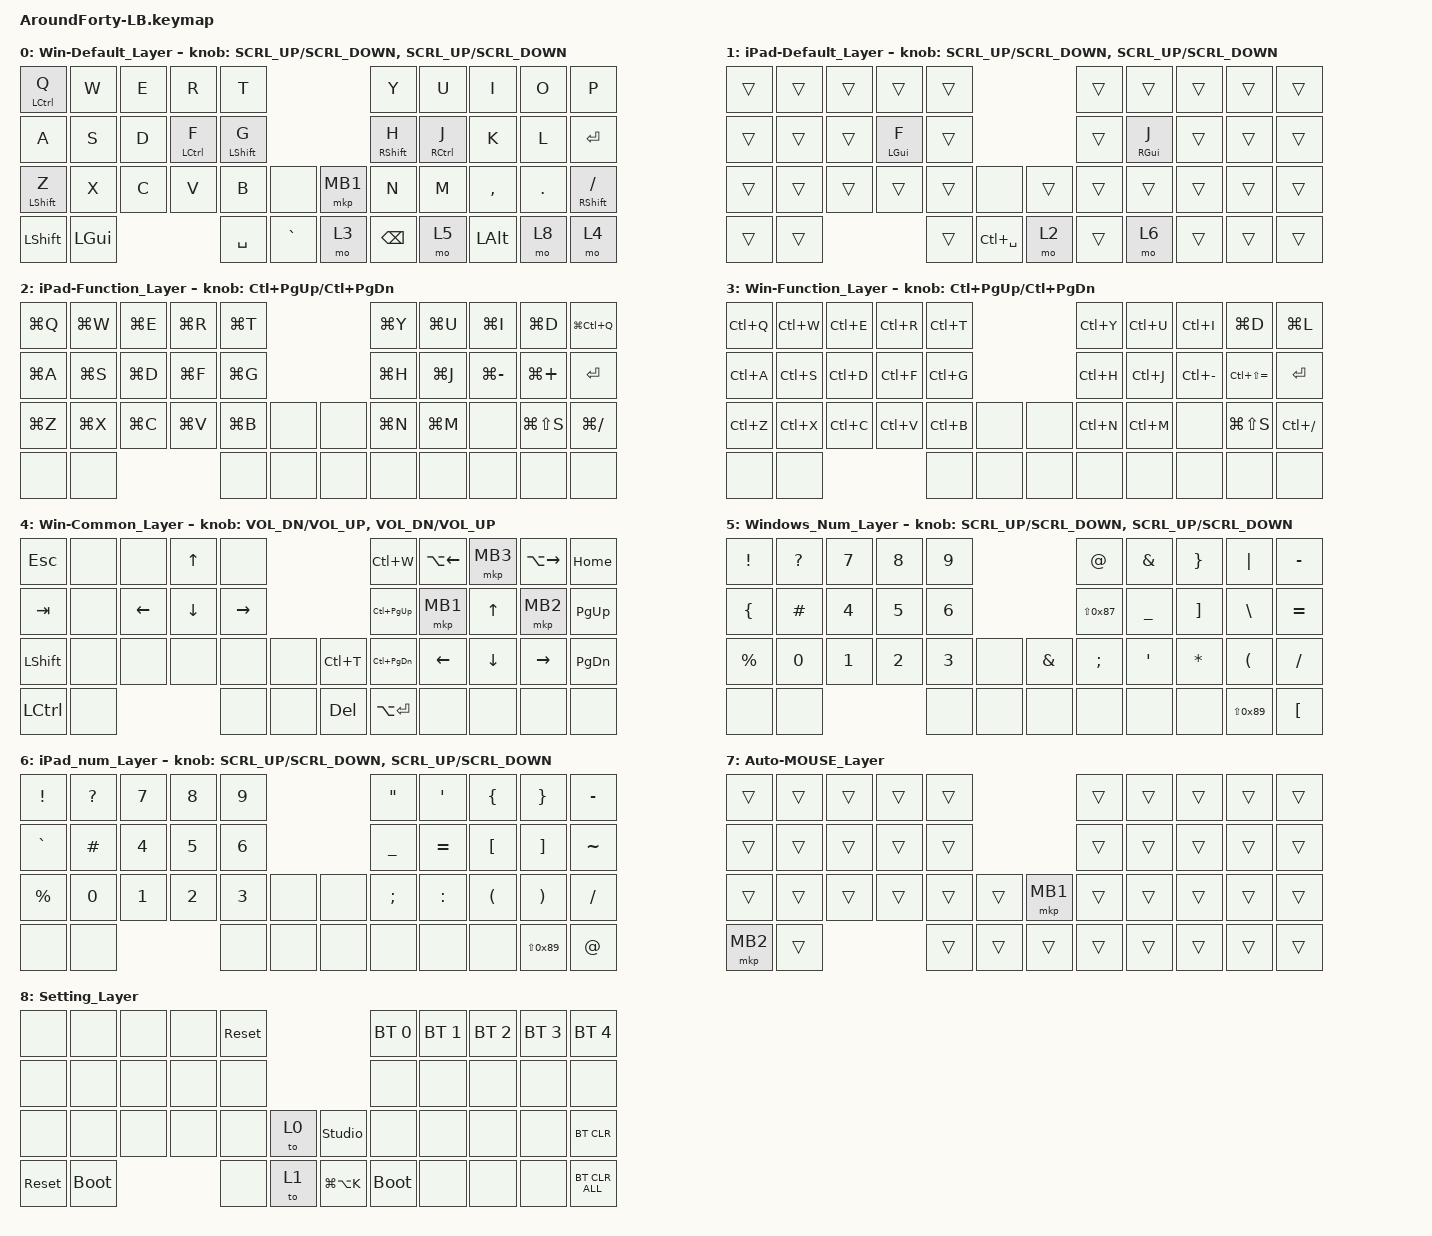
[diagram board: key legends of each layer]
#include <behaviors.dtsi>
#include <dt-bindings/zmk/bt.h>
#include <dt-bindings/zmk/keys.h>
#include <dt-bindings/zmk/pointing.h>

#undef ZMK_POINTING_DEFAULT_SCRL_VAL
#undef ZMK_POINTING_DEFAULT_MOVE_VAL

#define ZMK_POINTING_DEFAULT_MOVE_VAL 1800
#define ZMK_POINTING_DEFAULT_SCRL_VAL 10
#define MOUSE 7

// OS設定を日本語キーボードのまま使用するための変換定義
#define JP_DQUOTE       AT                // "
#define JP_AMPERSAND    CARET             // &
#define JP_QUOTE        AMPERSAND         // '
#define JP_EQUAL        UNDER             // =
#define JP_CARET        EQUAL             // ^
#define JP_YEN          0x89              // ¥
#define JP_PLUS         COLON             // +
#define JP_TILDE        PLUS              // ~
#define JP_PIPE         LS(0x89)          // |
#define JP_AT           LEFT_BRACKET      // @
#define JP_COLON        SINGLE_QUOTE      // :
#define JP_ASTERISK     DOUBLE_QUOTES     // *
#define JP_BACKQUOTE    LEFT_BRACE        // `
#define JP_UNDERSCORE   LS(0x87)          // _
#define JP_LBRACKET     RIGHT_BRACKET     // [
#define JP_RBRACKET     BACKSLASH         // ]
#define JP_LPAREN       ASTERISK          // (
#define JP_RPAREN       LEFT_PARENTHESIS  // )
#define JP_LBRACE       RIGHT_BRACE       // {
#define JP_RBRACE       PIPE              // }
#define JP_KANA         LANGUAGE_1        // かな
#define JP_EISU         LANGUAGE_2        // 英数
#define JP_HANZEN       GRAVE             // 半角/全角

&mt {
    flavor = "balanced";
    quick-tap-ms = <0>;
};

/ {
    //コンボ設定

    combos {
        compatible = "zmk,combos";

        tab {
            bindings = <&kp TAB>;
            key-positions = <11 12>;
        };

        shift_tab {
            bindings = <&kp LS(TAB)>;
            key-positions = <12 13>;
        };

        muhennkann {
            bindings = <&to_layer_0 INT_MUHENKAN>;
            key-positions = <11 10>;
        };

        double_quotation {
            bindings = <&kp DOUBLE_QUOTES>;
            key-positions = <20 21>;
        };

        eq {
            bindings = <&kp EQUAL>;
            key-positions = <24 25>;
        };
    };

    //マクロ(既存のキーの組み合わせ)

    macros {
        to_layer_0: to_layer_0 {
            compatible = "zmk,behavior-macro-one-param";
            #binding-cells = <1>;
            bindings = <&to 0 &macro_param_1to1 &kp MACRO_PLACEHOLDER>;
            label = "TO_LAYER_0";
        };
    };

    //新たな動作を定義する

    behaviors {
        hmr_left: hmr_left {
            compatible = "zmk,behavior-hold-tap";
            label = "HMR_LEFT";
            bindings = <&kp>, <&kp>;

            #binding-cells             = <2>;
            tapping-term-ms            = <200>;
            flavor                     = "balanced";
            hold-trigger-key-positions = <5 6 7 8 9 15 16 17 18 19 26 27 28 29 30 31 36 37 38 39 40 41 42>;
            require-prior-idle-ms      = <150>;
            hold-trigger-on-release;
            hold-while-undecided;
        };

        hmr_right: hmr_right {
            compatible = "zmk,behavior-hold-tap";
            label = "HMR_RIGHT";
            bindings = <&kp>, <&kp>;

            #binding-cells             = <2>;
            tapping-term-ms            = <200>;
            flavor                     = "balanced";
            hold-trigger-key-positions = <0 1 2 3 4 10 11 12 13 14 20 21 22 23 24 25 32 33 34 35>;
            require-prior-idle-ms      = <150>;
            hold-trigger-on-release;
            hold-while-undecided;
        };

        mouse_scroll: mouse_wheel_scrl {
            compatible = "zmk,behavior-sensor-rotate-var";
            #sensor-binding-cells = <2>;
            bindings = <&msc>, <&msc>;

            tap-ms = <20>;
        };
    };

    //キーマップ設定

    keymap {
        compatible = "zmk,keymap";


        //layer_0
        Win-Default_Layer {
            bindings = <
&mt LCTRL Q       &kp W         &kp E  &kp R              &kp T                                                    &kp Y                 &kp U                  &kp I          &kp O             &kp P
&kp A             &kp S         &kp D  &hmr_left LCTRL F  &hmr_left LSHIFT G                                       &hmr_right RSHIFT H   &hmr_right RCTRL J     &kp K          &kp L             &kp ENTER
&mt LSHIFT Z      &kp X         &kp C  &kp V              &kp B               &none                 &mkp MB1       &kp N                 &kp M                  &kp COMMA      &kp PERIOD        &mt RIGHT_SHIFT SLASH
&kp LSHIFT        &kp LEFT_GUI                            &kp SPACE           &kp JP_HANZEN         &mo 3          &kp BACKSPACE         &mo 5                  &kp LEFT_ALT   &mo 8             &mo 4
            >;

            sensor-bindings =
                <&mouse_scroll SCRL_UP SCRL_DOWN>,
                <&mouse_scroll SCRL_UP SCRL_DOWN>;
        };

        //layer_1
        iPad-Default_Layer {
            bindings = <
&trans  &trans  &trans  &trans            &trans                                        &trans  &trans             &trans   &trans  &trans
&trans  &trans  &trans  &hmr_left LGUI F  &trans                                        &trans  &hmr_right RGUI J  &trans   &trans  &trans
&trans  &trans  &trans  &trans            &trans  &none                        &trans   &trans  &trans             &trans   &trans  &trans
&trans  &trans                            &trans  &kp LC(SPACE)                &mo 2    &trans  &mo 6              &trans   &trans  &trans
            >;

            sensor-bindings =
                <&mouse_scroll SCRL_UP SCRL_DOWN>,
                <&mouse_scroll SCRL_UP SCRL_DOWN>;
        };

        //layer_2
        iPad-Function_Layer {
            bindings = <
&kp LG(Q)       &kp LG(W)     &kp LG(E)      &kp LG(R)   &kp LG(T)                           &kp LG(Y)  &kp LG(U)  &kp LG(I)        &kp LG(D)      &kp LG(LC(Q))
&kp LG(A)       &kp LG(S)     &kp LG(D)      &kp LG(F)   &kp LG(G)                           &kp LG(H)  &kp LG(J)  &kp LG(MINUS)    &kp LG(PLUS)   &kp ENTER
&kp LG(Z)       &kp LG(X)     &kp LG(C)      &kp LG(V)   &kp LG(B)      &none       &none    &kp LG(N)  &kp LG(M)  &none            &kp LG(LS(S))  &kp LG(SLASH)
&none           &none                                    &none          &none       &none    &none      &none      &none            &none          &none
            >;

            sensor-bindings = <&inc_dec_kp LC(PAGE_UP) LC(PAGE_DOWN)>;
        };

        //layer_3
        Win-Function_Layer {
            bindings = <
&kp LC(Q)       &kp LC(W)     &kp LC(E)      &kp LC(R)   &kp LC(T)                          &kp LC(Y)  &kp LC(U)  &kp LC(I)        &kp LG(D)           &kp LG(L)
&kp LC(A)       &kp LC(S)     &kp LC(D)      &kp LC(F)   &kp LC(G)                          &kp LC(H)  &kp LC(J)  &kp LC(MINUS)    &kp LC(LS(EQUAL))   &kp ENTER
&kp LC(Z)       &kp LC(X)     &kp LC(C)      &kp LC(V)   &kp LC(B)      &none       &none   &kp LC(N)  &kp LC(M)  &none            &kp LG(LS(S))       &kp LC(SLASH)
&none           &none                                    &none          &none       &none   &none      &none      &none            &none               &none
            >;

            sensor-bindings = <&inc_dec_kp LC(PAGE_UP) LC(PAGE_DOWN)>;
        };

        //layer_4
        Win-Common_Layer {
            bindings = <
&kp ESCAPE      &none        &none           &kp UP_ARROW    &none                                               &kp LC(W)          &kp LA(LEFT_ARROW)  &mkp MB3         &kp LA(RIGHT_ARROW)  &kp HOME
&kp TAB         &none        &kp LEFT_ARROW  &kp DOWN_ARROW  &kp RIGHT_ARROW                                     &kp LC(PAGE_UP)    &mkp MB1            &kp UP_ARROW     &mkp MB2             &kp PAGE_UP
&kp LEFT_SHIFT  &none        &none           &none           &none            &none           &kp LC(T)          &kp LC(PAGE_DOWN)  &kp LEFT_ARROW      &kp DOWN_ARROW   &kp RIGHT_ARROW      &kp PAGE_DOWN
&kp LCTRL       &none                                        &none            &none           &kp DEL            &kp LA(ENTER)      &none               &none            &none                &none
            >;

            sensor-bindings =
                <&inc_dec_kp C_VOL_DN C_VOL_UP>,
                <&inc_dec_kp C_VOL_DN C_VOL_UP>;
        };

        //layer_5
        Windows_Num_Layer {
            bindings = <
&kp EXCL          &kp QMARK   &kp N7  &kp N8  &kp N9                              &kp JP_DQUOTE      &kp JP_QUOTE    &kp JP_LBRACE     &kp JP_RBRACE    &kp MINUS
&kp JP_BACKQUOTE  &kp POUND   &kp N4  &kp N5  &kp N6                              &kp JP_UNDERSCORE  &kp JP_EQUAL    &kp JP_LBRACKET   &kp JP_RBRACKET  &kp JP_CARET
&kp PRCNT         &kp N0      &kp N1  &kp N2  &kp N3    &none     &kp AMPERSAND   &kp SEMI           &kp JP_COLON    &kp JP_LPAREN     &kp JP_RPAREN    &kp SLASH
&none             &none                       &none     &none     &none           &none              &none           &none             &kp JP_PIPE      &kp JP_AT 
            >;

            sensor-bindings =
                <&mouse_scroll SCRL_UP SCRL_DOWN>,
                <&mouse_scroll SCRL_UP SCRL_DOWN>;
        };

        //layer_6
        iPad_num_Layer {
            bindings = <
&kp EXCL      &kp QMARK   &kp N7  &kp N8  &kp N9                          &kp DQT     &kp SQT     &kp LBRC   &kp RBRC      &kp MINUS
&kp GRAVE     &kp POUND   &kp N4  &kp N5  &kp N6                          &kp UNDER   &kp EQUAL   &kp LBKT   &kp RBKT      &kp TILDE
&kp PRCNT     &kp N0      &kp N1  &kp N2  &kp N3   &none         &none    &kp SEMI    &kp COLON   &kp LPAR   &kp RPAR      &kp SLASH
&none         &none                       &none    &none         &none    &none       &none       &none      &kp JP_PIPE   &kp AT
            >;

            sensor-bindings =
                <&mouse_scroll SCRL_UP SCRL_DOWN>,
                <&mouse_scroll SCRL_UP SCRL_DOWN>;
        };



        //layer_7
        Auto-MOUSE_Layer {
            bindings = <
&trans    &trans  &trans  &trans  &trans                        &trans    &trans    &trans  &trans  &trans
&trans    &trans  &trans  &trans  &trans                        &trans    &trans    &trans  &trans  &trans
&trans    &trans  &trans  &trans  &trans    &trans    &mkp MB1  &trans    &trans    &trans  &trans  &trans
&mkp MB2  &trans                  &trans    &trans    &trans    &trans    &trans    &trans  &trans  &trans
            >;
        };

        //layer_8
        Setting_Layer {
            bindings = <
&none      &none       &none  &none  &sys_reset                                &bt BT_SEL 0  &bt BT_SEL 1    &bt BT_SEL 2  &bt BT_SEL 3  &bt BT_SEL 4
&none      &none       &none  &none  &none                                    &none        &none          &none        &none        &none
&none      &none       &none  &none  &none    &to 0        &studio_unlock     &none        &none          &none        &none        &bt BT_CLR
&sys_reset  &bootloader              &none    &to 1        &kp LG(LA(K))      &bootloader  &none          &none        &none        &bt BT_CLR_ALL
            >;
        };
    };
};
